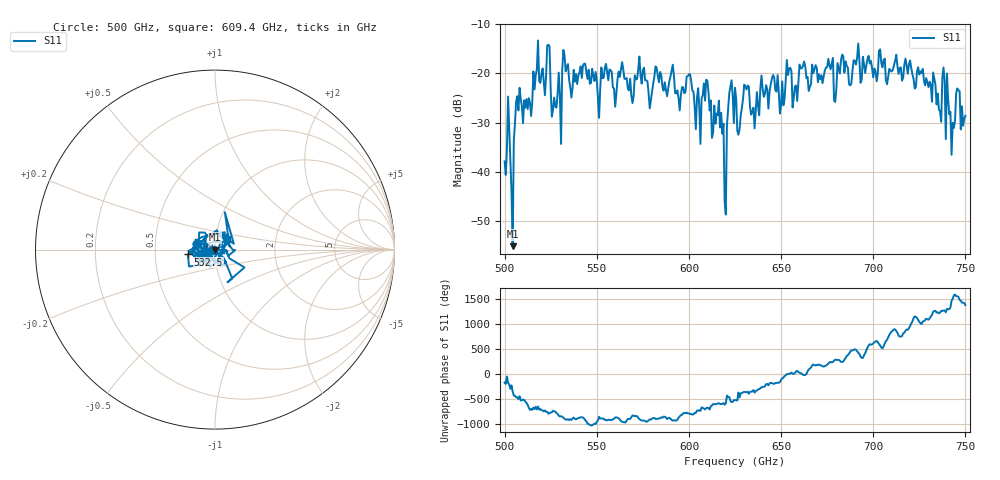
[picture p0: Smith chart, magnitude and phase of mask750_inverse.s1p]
!Created with skrf (http://scikit-rf.org).
# GHz S MA R 50.0
!freq magS11 angS11
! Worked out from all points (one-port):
!   401 points, 500 GHz to 750 GHz, reference 50 ohm
!   lowest |S11| = -55.1 dB at 504.4 GHz (marker M1), VSWR 1.00, Z = 50.2 + j0.0392 ohm
!   |S11| at or under -10 dB: start of sweep to end of sweep
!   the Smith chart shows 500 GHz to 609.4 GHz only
!   S11 on the Smith chart (normalised r, x): 500 GHz: 0.98, -0.01; 532.5 GHz: 0.74, -0.04; 609.4 GHz: 1.13, +0.13
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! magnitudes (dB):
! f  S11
! 500 GHz  -37.9
! 501.9 GHz  -24.7
! 504.4 GHz  -55.1
! 507.5 GHz  -27.5
! 513.8 GHz  -25.9
! 516.9 GHz  -20.5
! 523.8 GHz  -14.2
! 526.9 GHz  -24.9
! 531.2 GHz  -19.4
! 532.5 GHz  -16.3
! 550.6 GHz  -24.9
! 562.5 GHz  -20.7
! 593.8 GHz  -23.5
! 600 GHz  -20.2
! 605 GHz  -23.0
! 609.4 GHz  -21.3
! 617.5 GHz  -28.0
! 619.4 GHz  -45.8
! 622.5 GHz  -22.8
! 625 GHz  -22.9
! 656.2 GHz  -26.9
! 687.5 GHz  -22.5
! 718.8 GHz  -20.1
! 735.6 GHz  -27.3
! 738.8 GHz  -21.6
! 743.1 GHz  -30.0
! 745.6 GHz  -23.1
! 750 GHz  -28.6
